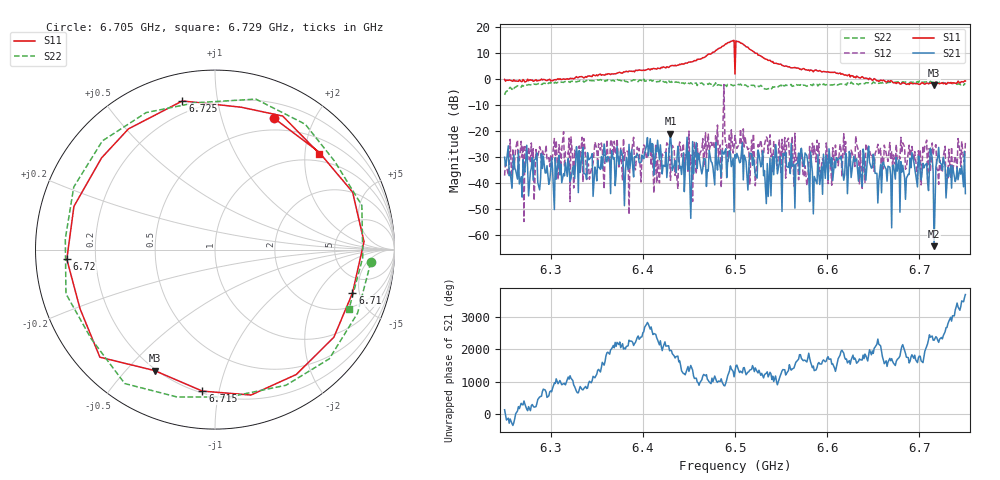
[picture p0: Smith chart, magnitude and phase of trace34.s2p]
# Hz S RI R 50
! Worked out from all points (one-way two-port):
!   401 points, 6.25 GHz to 6.75 GHz, reference 50 ohm
!   highest |S21| = -21.00 dB at 6.43 GHz (marker M1); lowest = -64.3 dB at 6.716 GHz (marker M2)
!   lowest |S11| = -2.5 dB at 6.716 GHz (marker M3), VSWR 7.11, Z = 9.64 - j30.1 ohm
!   |S11| at or under -10 dB: nowhere
!   |S22| runs from -6.1 to -0.1 dB; largest |S21 - S12| = 0.75
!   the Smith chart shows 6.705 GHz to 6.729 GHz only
!   S11 on the Smith chart (normalised r, x): 6.705 GHz: 0.36, +1.48; 6.71 GHz: 3.13, -4.27; 6.715 GHz: 0.21, -0.89; 6.72 GHz: 0.09, -0.03; 6.725 GHz: 0.13, +0.80; 6.729 GHz: 0.81, +2.32
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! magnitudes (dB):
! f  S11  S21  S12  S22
! 6.25 GHz  -0.2  -30.1  -37.2  -6.1
! 6.334 GHz  0.9  -29.0  -22.4  -0.6
! 6.341 GHz  1.1  -31.1  -32.7  -0.8
! 6.381 GHz  2.8  -37.0  -27.7  -1.0
! 6.418 GHz  4.0  -31.0  -40.0  -1.0
! 6.43 GHz  5.0  -21.0  -39.0  -1.3
! 6.5 GHz  1.9  -29.1  -21.8  -2.4
! 6.528 GHz  8.9  -33.8  -23.5  -2.5
! 6.536 GHz  7.1  -45.2  -28.7  -3.7
! 6.542 GHz  6.1  -36.9  -24.1  -3.2
! 6.576 GHz  3.6  -28.5  -33.4  -2.4
! 6.584 GHz  3.2  -36.1  -24.7  -2.5
! 6.612 GHz  2.0  -30.9  -33.4  -2.2
! 6.668 GHz  -1.1  -33.9  -24.5  -1.3
! 6.705 GHz  -1.9  -34.2  -28.5  -1.2
! 6.71 GHz  -1.9  -42.9  -26.9  -1.7
! 6.715 GHz  -2.0  -35.8  -29.3  -1.2
! 6.716 GHz  -2.5  -64.3  -26.6  -1.6
! 6.72 GHz  -1.6  -30.1  -34.9  -1.4
! 6.725 GHz  -1.4  -35.1  -35.7  -1.6
! 6.729 GHz  -2.0  -45.8  -43.9  -1.8
! 6.75 GHz  -0.8  -44.1  -24.6  -2.0
